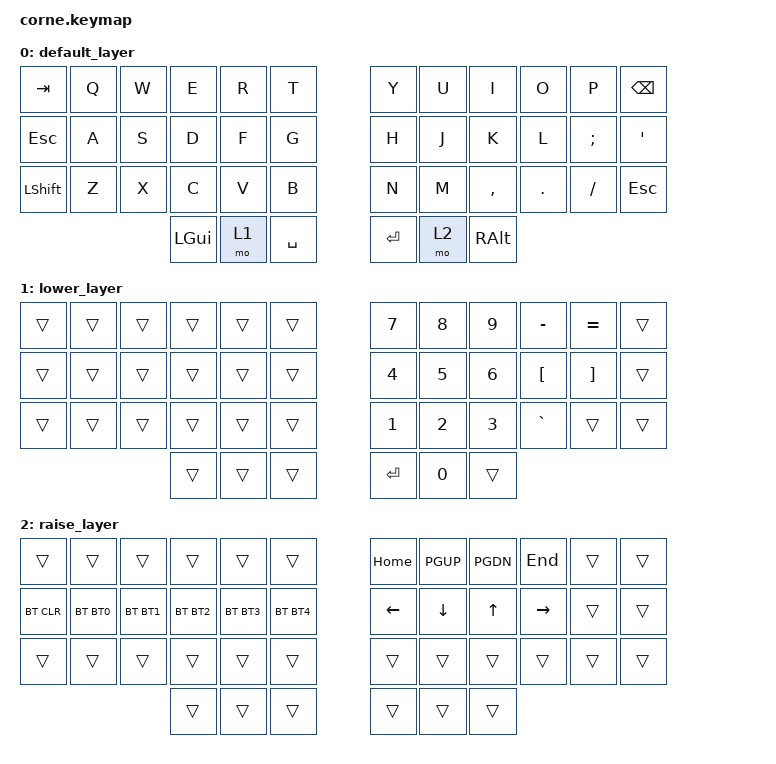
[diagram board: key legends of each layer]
/*
 * Copyright (c) 2024 James Vasile
 * Copyright (c) 2020 The ZMK Contributors
 *
 * SPDX-License-Identifier: MIT
 */

#include <behaviors.dtsi>
#include <dt-bindings/zmk/keys.h>
#include <dt-bindings/zmk/bt.h>

#define BT0 BT_SEL 0
#define BT1 BT_SEL 1
#define BT2 BT_SEL 2
#define BT3 BT_SEL 3
#define BT4 BT_SEL 4

// keys missing from this map: F1 through F12, vol up/down/mute/mic mute, play/stop, screen bright up/down, switch-display, mouse movement

/ {
        keymap {
                compatible = "zmk,keymap";

                default_layer {
// -----------------------------------------------------------------------------------------
// |  TAB |  Q  |  W  |  E  |  R  |  T  |###|  Y  |  U   |  I  |  O  |  P  | BKSP |
// |  ESC |  A  |  S  |  D  |  F  |  G  |###|  H  |  J   |  K  |  L  |  ;  |  '   |
// | SHFT |  Z  |  X  |  C  |  V  |  B  |###|  N  |  M   |  ,  |  .  |  /  | ESC  |
//                    | GUI | LWR | SPC |###| ENT | RSE  | ALT |
                        bindings = <

   &kp TAB   &kp Q &kp W &kp E &kp R &kp T        &kp Y &kp U  &kp I     &kp O   &kp P    &kp BSPC
   &kp ESC   &kp A &kp S &kp D &kp F &kp G        &kp H &kp J  &kp K     &kp L   &kp SEMI &kp SQT
   &kp LSHFT &kp Z &kp X &kp C &kp V &kp B           &kp N &kp M  &kp COMMA &kp DOT &kp FSLH &kp ESC
                  &kp LGUI &mo 1 &kp SPACE           &kp RET &mo 2 &kp RALT 

                        >;
                };
                lower_layer {
// -----------------------------------------------------------------------------------------
// |      |     |     |     |     |     |###|  7  |  8  |  9  |  -  |  =  | BKSP |
// |      |     |     |     |     |     |###|  4  |  5  |  6  |  [  |  ]  |      |
// |      |     |     |     |     |     |###|  1  |  2  |  3  |  `  |     |      |
//                    |     |     |     |###| ENT |  0  |     |
                        bindings = <

   &trans  &trans  &trans  &trans  &trans  &trans     &kp N7   &kp N8   &kp N9 &kp MINUS &kp EQUAL &trans
   &trans  &trans  &trans  &trans  &trans  &trans     &kp N4   &kp N5   &kp N6 &kp LBKT  &kp RBKT  &trans
   &trans  &trans  &trans  &trans  &trans  &trans     &kp N1   &kp N2   &kp N3 &kp GRAVE &trans    &trans
                           &trans  &trans  &trans     &kp RET  &kp N0   &trans

                        >;
                };

                raise_layer {
// -----------------------------------------------------------------------------------------
// |      |     |     |     |     |     |###|HOME |PG-Dn|PG-Up| END |     |      |
// |BTCLR |BT 0 |BT 1 |BT 2 |BT 3 |BT 4 |###|LEFT |DOWN | UP  |RIGHT|     |      |
// |      |     |     |     |     |     |###|     |     |     |     |     |      |
//                    |     |     |     |###|     |     |     |
                        bindings = <

   &trans     &trans  &trans  &trans  &trans  &trans        &kp HOME &kp PGUP &kp PGDN &kp END   &trans &trans
   &bt BT_CLR &bt BT0 &bt BT1 &bt BT2 &bt BT3 &bt BT4       &kp LEFT &kp DOWN &kp UP   &kp RIGHT &trans &trans 
   &trans     &trans  &trans  &trans  &trans  &trans        &trans   &trans   &trans   &trans    &trans &trans
                         &trans &trans &trans      &trans &trans &trans

                        >;
                };
        };
};
